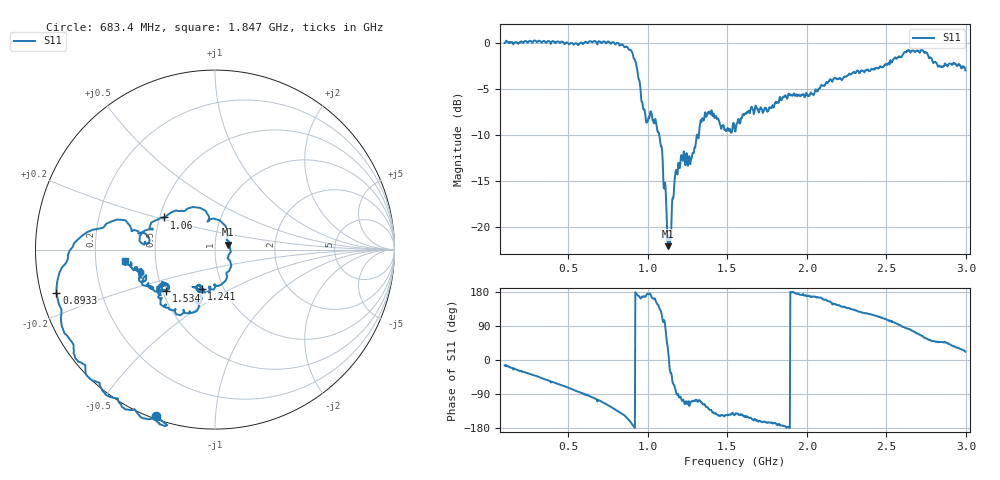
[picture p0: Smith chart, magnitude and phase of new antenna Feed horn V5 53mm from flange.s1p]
# HZ S RI R 50
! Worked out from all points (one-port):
!   1009 points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, 100 MHz to 2.997 GHz, reference 50 ohm
!   lowest |S11| = -22.1 dB at 1.129 GHz (marker M1), VSWR 1.17, Z = 57.8 + j3.2 ohm
!   |S11| at or under -10 dB: 1.072 GHz to 1.309 GHz (237.2 MHz wide, 19.9 % of centre); 1.311 GHz to 1.321 GHz (9.852 MHz wide, 0.748 % of centre)
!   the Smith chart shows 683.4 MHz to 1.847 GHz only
!   S11 on the Smith chart (normalised r, x): 683.4 MHz: 0.01, -0.71; 893.3 MHz: 0.04, -0.13; 1.06 GHz: 0.53, +0.21; 1.241 GHz: 0.79, -0.37; 1.534 GHz: 0.52, -0.28; 1.847 GHz: 0.33, -0.05
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1e8  0.9699 -0.2479
2.95441e8  0.7697 -0.6818
4.621408e8  0.3963 -0.9382
6.83449e8  -0.329 -0.9272
8.242815e8  -0.7227 -0.644
8.932607e8  -0.8831 -0.2428
9.42121e8  -0.6267 0.1209
9.794847e8  -0.4265 0.0896
1.005352e9  -0.392 0.0396
1.05996e9  -0.2828 0.1793
1.097324e9  -0.0329 0.1827
1.12894e9  0.0733 0.0275
1.137562e9  0.0747 -0.0309
1.186422e9  -0.0019 -0.1924
1.241031e9  -0.0749 -0.2206
1.312884e9  -0.1002 -0.2986
1.373241e9  -0.2255 -0.3391
1.450843e9  -0.3119 -0.1996
1.534192e9  -0.2711 -0.2309
1.548563e9  -0.2698 -0.1955
1.847473e9  -0.4995 -0.0614
1.910704e9  -0.516 0.00675
2.080278e9  -0.5476 0.1521
2.272845e9  -0.4818 0.475
2.48553e9  -0.2474 0.7105
2.634985e9  0.1215 0.9048
2.752825e9  0.4879 0.7343
2.997126e9  0.6582 0.2649
